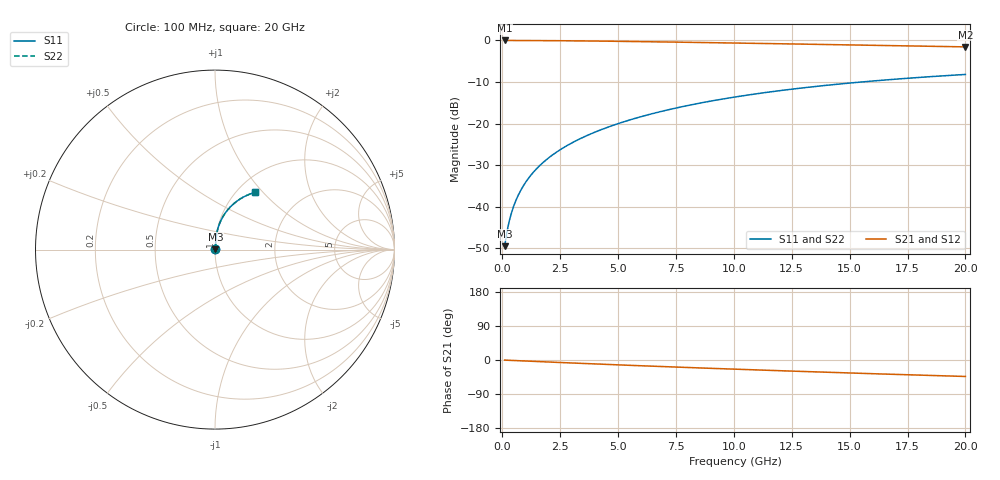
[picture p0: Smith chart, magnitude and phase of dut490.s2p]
! Touchstone file exported from HFSS 2024.1.0
!  File:  C:/UserFiles/LocalFiles/RDL_TSV_Batchsim/temp_RDL_top_490_1779678673.aedt
!  Generated:  11:13:20 AM May 25, 2026
!  Design:  RDL_top
!  Project:  temp_RDL_top_490_1779678673
!  Setup:  Setup1
!  Solution:  Sweep
! Variables:
!  dtsv = 10.80580581um
!  hbump = 3um
!  htsv = 97.76um
!  ldown = 100um
!  lrdl = 595.02um
!  p = 40
!  p1 = 56.81um
!  rhole = 1um
!  t = 450um
!  tdown = 3.915915916um
!  trdl = 3.72um
!  wdown = 15.38538539um
!  wrdl = 23.55um
# GHz S MA R 50.000000
! Terminal data exported
! Port[1] = Box2_T1
! Port[2] = Box2_T2
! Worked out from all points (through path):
!   200 points, 100 MHz to 20 GHz, reference 50 ohm
!   highest |S21| = -0.02 dB at 100 MHz (marker M1); lowest = -1.6 dB at 20 GHz (marker M2)
!   group delay of S21, straight-line fit = 5.99 ps
!   lowest |S11| = -49.5 dB at 100 MHz (marker M3), VSWR 1.01, Z = 50.3 + j0.211 ohm
!   |S11| at or under -10 dB: start of sweep to 15.53 GHz
!   |S22| runs from -49.5 to -8.2 dB; largest |S21 - S12| = 3.6e-15
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0.1  0.003349 38.8  0.9974 -0.3  0.9974 -0.3  0.003349 38.8
! Gamma 0 0 0 0
! Port Impedance 50 0 50 0
0.2  0.004951 56.2  0.9972 -0.6  0.9972 -0.6  0.004951 56.2
0.3  0.006706 64.4  0.997 -0.8  0.997 -0.8  0.006706 64.4
0.4  0.008489 69.2  0.9968 -1.1  0.9968 -1.1  0.008489 69.2
0.5  0.01029 72.4  0.9967 -1.4  0.9967 -1.4  0.01029 72.4
0.6  0.0121 74.8  0.9965 -1.6  0.9965 -1.6  0.0121 74.8
0.8  0.01578 77.9  0.9961 -2.1  0.9961 -2.1  0.01578 77.9
1.1  0.02138 80.7  0.9954 -2.9  0.9954 -2.9  0.02138 80.7
1.5  0.02896 82.6  0.9943 -4.0  0.9943 -4.0  0.02896 82.6
1.8  0.03472 83.5  0.9933 -4.8  0.9933 -4.8  0.03472 83.5
2.1  0.04054 84.0  0.9921 -5.6  0.9921 -5.6  0.04054 84.0
2.7  0.05234 84.5  0.9892 -7.1  0.9892 -7.1  0.05235 84.5
3.5  0.06845 84.5  0.9846 -9.2  0.9846 -9.2  0.06845 84.5
4.2  0.08286 84.1  0.9799 -10.9  0.9799 -10.9  0.08287 84.1
5  0.09966 83.3  0.9739 -12.9  0.9739 -12.9  0.09968 83.3
6.8  0.1384 80.7  0.9588 -17.1  0.9588 -17.1  0.1384 80.7
8.4  0.1731 77.8  0.9444 -20.7  0.9444 -20.7  0.1731 77.8
10.1  0.2095 74.5  0.9285 -24.4  0.9285 -24.4  0.2095 74.5
11.7  0.2427 71.2  0.9134 -27.7  0.9134 -27.7  0.2428 71.2
13.4  0.2765 67.8  0.8972 -31.1  0.8972 -31.1  0.2765 67.8
16.7  0.3367 61.2  0.8658 -37.5  0.8658 -37.5  0.3367 61.2
20  0.3891 54.9  0.835 -43.5  0.835 -43.5  0.3892 54.9
